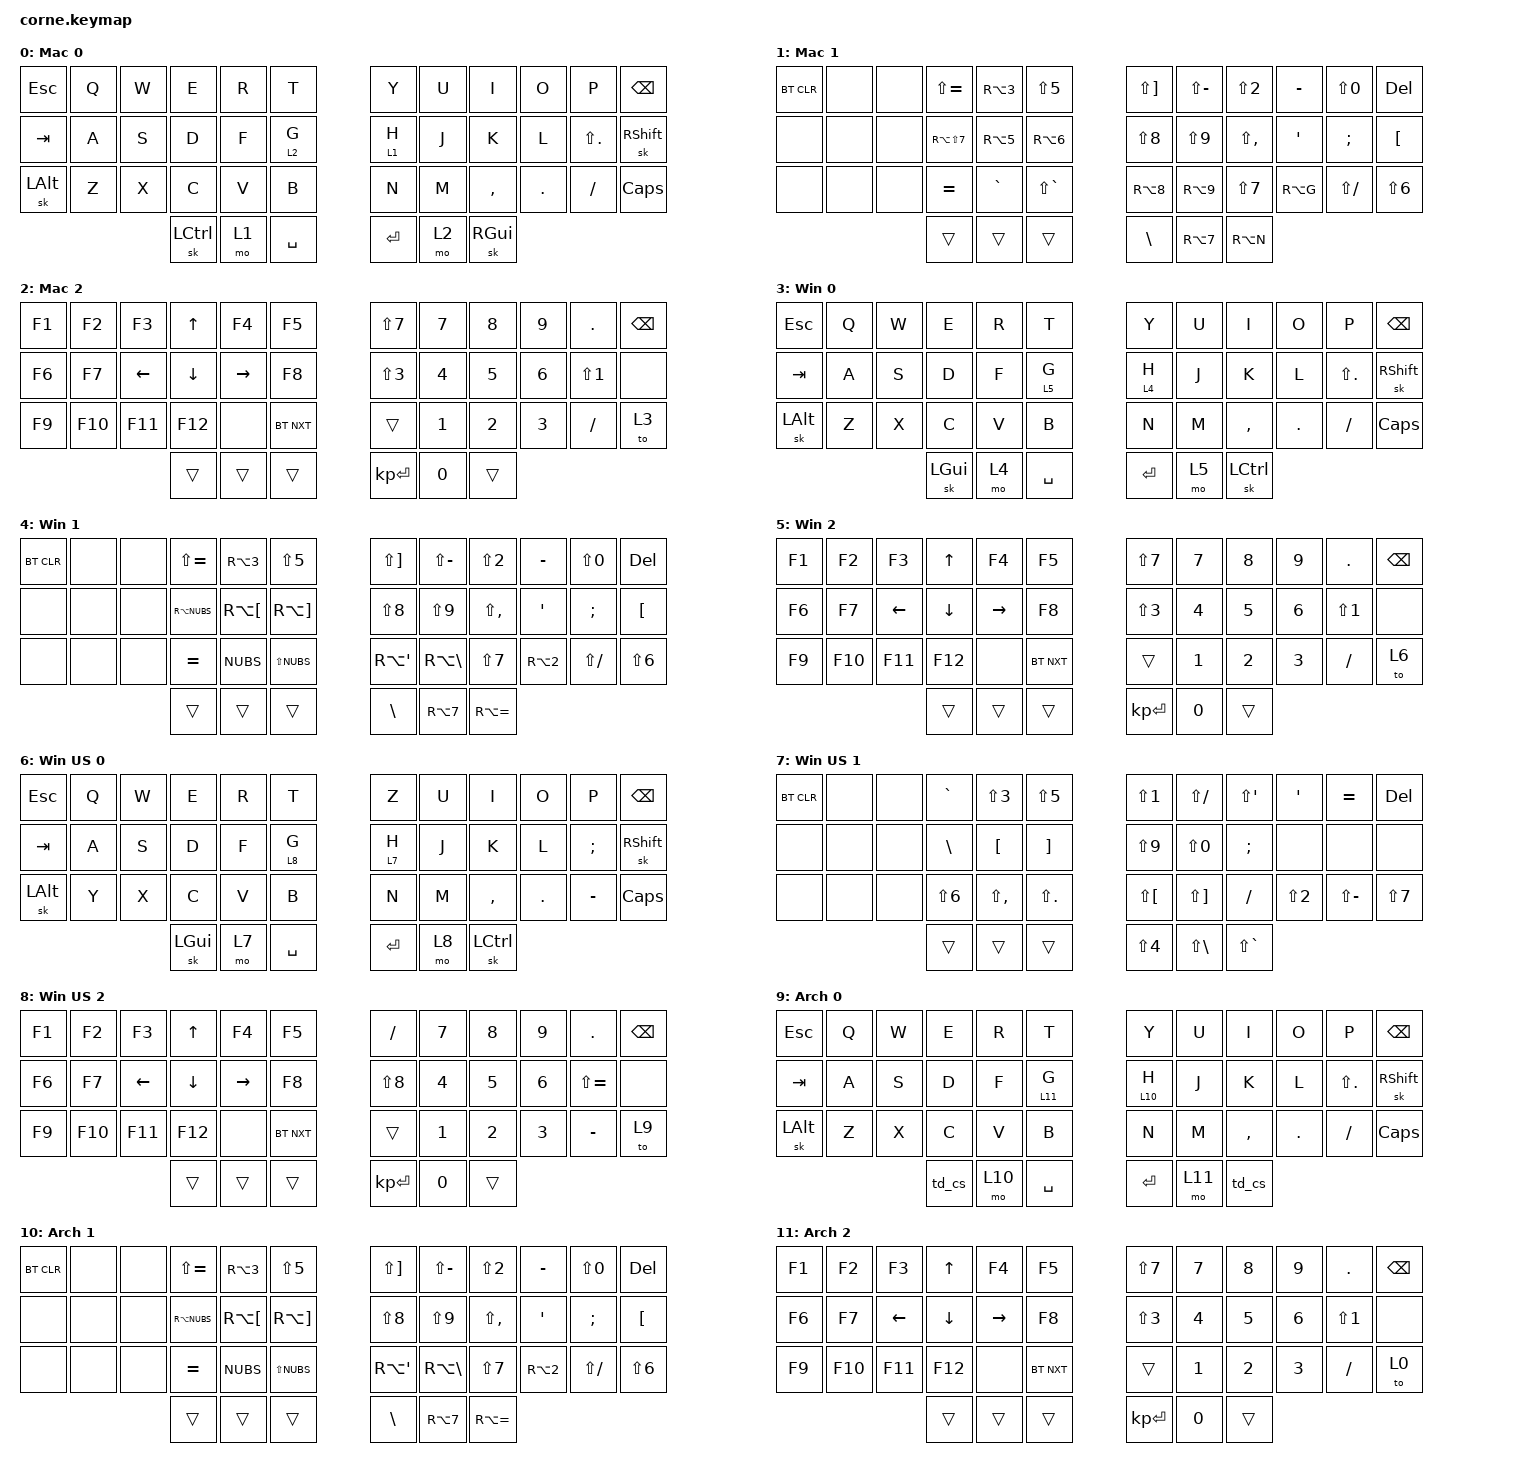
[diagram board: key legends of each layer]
// =======================================================================================================================
// !! MAINTENANCE RULE - READ BEFORE EDITING ANY BINDING !!
// =======================================================================================================================
// The ASCII layer maps below are the documentation for this keymap. They are NOT auto-generated.
// EVERY change to a `bindings = <...>` block MUST be mirrored in the matching ASCII map in this header,
// in the SAME commit. A binding change without a doc update is an incomplete change.
//
// Checklist for any binding edit:
//   1. Find the key's number in the KEY NUMBERING grid below.
//   2. Edit the binding in all layers of that role (symbols = layers 1/4/7/10, fn/numpad = 2/5/8/11, default = 0/3/6/9)
//      unless the change is deliberately world-specific.
//   3. Update that key's cell in the corresponding ASCII map. Cells are 7 chars wide - keep the columns aligned.
//   4. If the behavior is non-obvious or destructive, add a line to that layer's "Note:" block.
//
// =======================================================================================================================
// LAYERS 0-2: Mac with Swiss German (DE) Layout
// LAYERS 3-5: Windows with Swiss German (DE) Layout
// LAYERS 6-8: Windows with US Standard
// LAYERS 9-11: Arch Linux with Swiss German (DE) Layout
// =======================================================================================================================
// Switch between setups using mo2 + bottom-right key (cycles: Mac DE → Win DE → Win US → Arch DE)
//
// =======================================================================================================================
// KEY NUMBERING  (refer to any physical key by its number, e.g. "remap key 38 in mo1 to X")
// =======================================================================================================================
// |   1   |   2   |   3   |   4   |   5   |   6   |                     |   7   |   8   |   9   |   10  |   11  |   12  |
// |   13  |   14  |   15  |   16  |   17  |   18  |                     |   19  |   20  |   21  |   22  |   23  |   24  |
// |   25  |   26  |   27  |   28  |   29  |   30  |                     |   31  |   32  |   33  |   34  |   35  |   36  |
//                                 |   37  |   38  |   39  |     |   40  |   41  |   42  |
//
// =======================================================================================================================
// LAYER 0/3/6/9 - mo0 - Default Layer
// =======================================================================================================================
// |  Esc  |   Q   |   W   |   E   |   R   |   T   |                     |   Z   |   U   |   I   |   O   |   P   |  Bspc |
// |  Tab  |   A   |   S   |   D   |   F   |   G   |                     |   H   |   J   |   K   |   L   |   :   | RShft |
// |  LOpt |   Y   |   X   |   C   |   V   |   B   |                     |   N   |   M   |   ,   |   .   |   -   |  Caps |
//                                 | LCtrl |  mo1  | Space |     |  Ret  |  mo2  |  RCmd |
//
// Note: All sticky (&sk). LOpt (key 25) = Left Option on macOS / Left Alt on Windows+Linux. RShft (key 24).
//       Thumb mods differ per world:
//         Layer 0 (Mac):   key 37 = LCtrl;              key 42 = RCmd (RGUI).
//         Layers 3/6 (Win): key 37 = LCmd (LGUI/Win key); key 42 = LCtrl.
//         Layer 9 (Linux):  keys 37 AND 42 = &td_cs tap-dance, Ctrl-first with Super behind a double-tap:
//           tap = sticky LCtrl; hold = held LCtrl; double-tap = sticky Super (LGUI);
//           double-tap+hold (tap, press again and keep holding) = held Super.
//           Nothing latches after release beyond the normal sticky window - next press is Ctrl again.
//           Making Super+C/V etc. behave like Cmd is host-side config (Hyprland binds / terminal keymaps).
//
// =======================================================================================================================
// LAYER 1/4/7/10 - mo1 - Symbols Layer
// =======================================================================================================================
// | BTclr |       |       |   `   |   #   |   %   |                     |   !   |   ?   |   "   |   '   |   =   |  Del  |
// |       |       |       |   \   |   [   |   ]   |                     |   (   |   )   |   ;   |   ä   |   ö   |   ü   |
// |       |       |       |   ^   |   <   |   >   |                     |   {   |   }   |   /   |   @   |   _   |   &   |
//                                 |       |       |       |     |   $   |   |   |   ~   |
// Note: Key codes differ between Swiss German and US International to produce same symbols
//       BTclr (key 1) = &bt BT_CLR - clears the bond of the CURRENTLY SELECTED profile only.
//       Re-pair from the host afterwards. Use &bt BT_CLR_ALL instead to wipe every profile.
//
// =======================================================================================================================
// LAYER 2/5/8/11 - mo2 - Function Keys & Numpad Layer
// =======================================================================================================================
// |   F1  |   F2  |   F3  |   ↑   |   F4  |   F5  |                     |   /   |   7   |   8   |   9   |   .   |  Bspc |
// |   F6  |   F7  |   ←   |   ↓   |   →   |   F8  |                     |   *   |   4   |   5   |   6   |   +   |       |
// |   F9  |  F10  |  F11  |  F12  |       |  BT>  |                     |       |   1   |   2   |   3   |   -   | Setup |
//                                 |       |       |       |     |  Ent  |   0   |       |
#include <behaviors.dtsi>
#include <dt-bindings/zmk/keys.h>
#include <dt-bindings/zmk/bt.h>

/ {
    behaviors {
        lt_quick: layer_tap_quick {
            compatible = "zmk,behavior-hold-tap";
            #binding-cells = <2>;
            flavor = "tap-preferred";
            tapping-term-ms = <150>;
            bindings = <&mo>, <&kp>;
        };

        td_cs: tap_dance_ctrl_super {
            compatible = "zmk,behavior-tap-dance";
            #binding-cells = <0>;
            tapping-term-ms = <300>;
            bindings = <&sk LCTRL>, <&sk LGUI>;
        };
    };

    keymap {
        compatible = "zmk,keymap";
        mac_de_default_layer {
            label = "Mac 0";
            bindings = <
                &kp ESC      &kp Q    &kp W        &kp E        &kp R        &kp T            &kp Y         &kp U        &kp I        &kp O        &kp P            &kp BSPC
                &kp TAB      &kp A    &kp S        &kp D        &kp F        &lt_quick 2 G    &lt_quick 1 H &kp J        &kp K        &kp L        &kp LS(DOT)      &sk RSHFT
                &sk LALT     &kp Z    &kp X        &kp C        &kp V        &kp B            &kp N         &kp M        &kp COMMA    &kp DOT      &kp FSLH         &kp CAPS
                                                   &sk LCTRL     &mo 1        &kp SPACE        &kp RET       &mo 2        &sk RGUI
            >;
        };

        mac_de_mo1_layer {
            label = "Mac 1";
            bindings = <
                &bt BT_CLR       &none    &none    &kp LS(EQUAL)  &kp RA(N3)     &kp LS(N5)        &kp LS(RBKT)     &kp LS(MINUS)    &kp LS(N2)       &kp MINUS    &kp LS(N0)       &kp DEL
                &none            &none    &none    &kp RA(LS(N7)) &kp RA(N5)     &kp RA(N6)        &kp LS(N8)       &kp LS(N9)       &kp LS(COMMA)    &kp SQT      &kp SEMI         &kp LBKT
                &none            &none    &none    &kp EQUAL      &kp GRAVE      &kp LS(GRAVE)     &kp RA(N8)       &kp RA(N9)       &kp LS(N7)       &kp RA(G)    &kp LS(FSLH)     &kp LS(N6)
                                                   &trans         &trans         &trans            &kp BSLH         &kp RA(N7)       &kp RA(N)
            >;
        };

        mac_de_mo2_layer {
            label = "Mac 2";
            bindings = <
                &kp F1     &kp F2     &kp F3       &kp UP       &kp F4         &kp F5           &kp LS(N7)       &kp N7     &kp N8     &kp N9     &kp DOT        &kp BSPC
                &kp F6     &kp F7     &kp LEFT     &kp DOWN     &kp RIGHT      &kp F8           &kp LS(N3)       &kp N4     &kp N5     &kp N6     &kp LS(N1)     &none
                &kp F9     &kp F10    &kp F11      &kp F12      &none          &bt BT_NXT       &trans           &kp N1     &kp N2     &kp N3     &kp FSLH       &to 3
                                                   &trans       &trans         &trans           &kp KP_ENTER     &kp N0     &trans
            >;
        };

        win_de_default_layer {
            label = "Win 0";
            bindings = <
                &kp ESC      &kp Q    &kp W        &kp E        &kp R        &kp T                &kp Y            &kp U        &kp I        &kp O        &kp P            &kp BSPC
                &kp TAB      &kp A    &kp S        &kp D        &kp F        &lt_quick 5 G        &lt_quick 4 H    &kp J        &kp K        &kp L        &kp LS(DOT)      &sk RSHFT
                &sk LALT     &kp Z    &kp X        &kp C        &kp V        &kp B                &kp N            &kp M        &kp COMMA    &kp DOT      &kp FSLH         &kp CAPS
                                                   &sk LGUI      &mo 4        &kp SPACE            &kp RET          &mo 5        &sk LCTRL
            >;
        };

        win_de_mo1_layer {
            label = "Win 1";
            bindings = <
                &bt BT_CLR       &none    &none    &kp LS(EQUAL)    &kp RA(N3)       &kp LS(N5)        &kp LS(RBKT)     &kp LS(MINUS)    &kp LS(N2)       &kp MINUS      &kp LS(N0)       &kp DEL
                &none            &none    &none    &kp RA(NUBS)     &kp RA(LBKT)     &kp RA(RBKT)      &kp LS(N8)       &kp LS(N9)       &kp LS(COMMA)    &kp SQT        &kp SEMI         &kp LBKT
                &none            &none    &none    &kp EQUAL        &kp NUBS         &kp LS(NUBS)      &kp RA(SQT)      &kp RA(BSLH)     &kp LS(N7)       &kp RA(N2)     &kp LS(FSLH)     &kp LS(N6)
                                                   &trans           &trans           &trans            &kp BSLH         &kp RA(N7)       &kp RA(EQUAL)
            >;
        };

        win_de_mo2_layer {
            label = "Win 2";
            bindings = <
                &kp F1     &kp F2     &kp F3       &kp UP       &kp F4         &kp F5           &kp LS(N7)       &kp N7     &kp N8     &kp N9     &kp DOT        &kp BSPC
                &kp F6     &kp F7     &kp LEFT     &kp DOWN     &kp RIGHT      &kp F8           &kp LS(N3)       &kp N4     &kp N5     &kp N6     &kp LS(N1)     &none
                &kp F9     &kp F10    &kp F11      &kp F12      &none          &bt BT_NXT       &trans           &kp N1     &kp N2     &kp N3     &kp FSLH       &to 6
                                                   &trans       &trans         &trans           &kp KP_ENTER     &kp N0     &trans
            >;
        };

        win_us_intl_default_layer {
            label = "Win US 0";
            bindings = <
                &kp ESC      &kp Q    &kp W        &kp E        &kp R        &kp T                &kp Z            &kp U        &kp I        &kp O        &kp P            &kp BSPC
                &kp TAB      &kp A    &kp S        &kp D        &kp F        &lt_quick 8 G        &lt_quick 7 H    &kp J        &kp K        &kp L        &kp SEMI         &sk RSHFT
                &sk LALT     &kp Y    &kp X        &kp C        &kp V        &kp B                &kp N            &kp M        &kp COMMA    &kp DOT      &kp MINUS        &kp CAPS
                                                   &sk LGUI      &mo 7        &kp SPACE            &kp RET          &mo 8        &sk LCTRL
            >;
        };

        win_us_intl_mo1_layer {
            label = "Win US 1";
            bindings = <
                &bt BT_CLR       &none    &none    &kp GRAVE        &kp LS(N3)       &kp LS(N5)        &kp LS(N1)       &kp LS(FSLH)     &kp LS(SQT)      &kp SQT        &kp EQUAL        &kp DEL
                &none            &none    &none    &kp BSLH         &kp LBKT         &kp RBKT          &kp LS(N9)       &kp LS(N0)       &kp SEMI         &none          &none            &none
                &none            &none    &none    &kp LS(N6)       &kp LS(COMMA)    &kp LS(DOT)       &kp LS(LBKT)     &kp LS(RBKT)     &kp FSLH         &kp LS(N2)     &kp LS(MINUS)    &kp LS(N7)
                                                   &trans           &trans           &trans            &kp LS(N4)       &kp LS(BSLH)     &kp LS(GRAVE)
            >;
        };

        win_us_intl_mo2_layer {
            label = "Win US 2";
            bindings = <
                &kp F1     &kp F2     &kp F3       &kp UP       &kp F4         &kp F5           &kp FSLH         &kp N7     &kp N8     &kp N9     &kp DOT        &kp BSPC
                &kp F6     &kp F7     &kp LEFT     &kp DOWN     &kp RIGHT      &kp F8           &kp LS(N8)       &kp N4     &kp N5     &kp N6     &kp LS(EQUAL)  &none
                &kp F9     &kp F10    &kp F11      &kp F12      &none          &bt BT_NXT       &trans           &kp N1     &kp N2     &kp N3     &kp MINUS      &to 9
                                                   &trans       &trans         &trans           &kp KP_ENTER     &kp N0     &trans
            >;
        };

        arch_de_default_layer {
            label = "Arch 0";
            bindings = <
                &kp ESC      &kp Q    &kp W        &kp E        &kp R        &kp T                &kp Y            &kp U        &kp I        &kp O        &kp P            &kp BSPC
                &kp TAB      &kp A    &kp S        &kp D        &kp F        &lt_quick 11 G       &lt_quick 10 H   &kp J        &kp K        &kp L        &kp LS(DOT)      &sk RSHFT
                &sk LALT     &kp Z    &kp X        &kp C        &kp V        &kp B                &kp N            &kp M        &kp COMMA    &kp DOT      &kp FSLH         &kp CAPS
                                                   &td_cs        &mo 10       &kp SPACE            &kp RET          &mo 11       &td_cs
            >;
        };

        arch_de_mo1_layer {
            label = "Arch 1";
            bindings = <
                &bt BT_CLR       &none    &none    &kp LS(EQUAL)    &kp RA(N3)       &kp LS(N5)        &kp LS(RBKT)     &kp LS(MINUS)    &kp LS(N2)       &kp MINUS      &kp LS(N0)       &kp DEL
                &none            &none    &none    &kp RA(NUBS)     &kp RA(LBKT)     &kp RA(RBKT)      &kp LS(N8)       &kp LS(N9)       &kp LS(COMMA)    &kp SQT        &kp SEMI         &kp LBKT
                &none            &none    &none    &kp EQUAL        &kp NUBS         &kp LS(NUBS)      &kp RA(SQT)      &kp RA(BSLH)     &kp LS(N7)       &kp RA(N2)     &kp LS(FSLH)     &kp LS(N6)
                                                   &trans           &trans           &trans            &kp BSLH         &kp RA(N7)       &kp RA(EQUAL)
            >;
        };

        arch_de_mo2_layer {
            label = "Arch 2";
            bindings = <
                &kp F1     &kp F2     &kp F3       &kp UP       &kp F4         &kp F5           &kp LS(N7)       &kp N7     &kp N8     &kp N9     &kp DOT        &kp BSPC
                &kp F6     &kp F7     &kp LEFT     &kp DOWN     &kp RIGHT      &kp F8           &kp LS(N3)       &kp N4     &kp N5     &kp N6     &kp LS(N1)     &none
                &kp F9     &kp F10    &kp F11      &kp F12      &none          &bt BT_NXT       &trans           &kp N1     &kp N2     &kp N3     &kp FSLH       &to 0
                                                   &trans       &trans         &trans           &kp KP_ENTER     &kp N0     &trans
            >;
        };
    };
};
